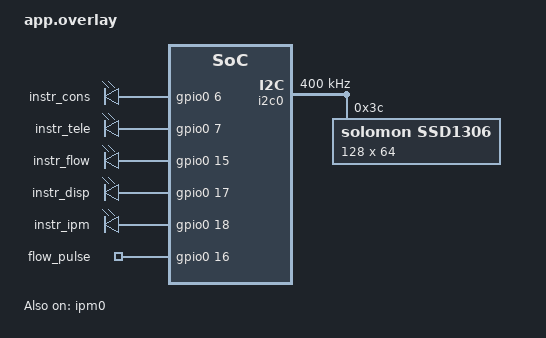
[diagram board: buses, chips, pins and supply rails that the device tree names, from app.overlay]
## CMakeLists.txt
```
cmake_minimum_required(VERSION 3.20.0)
find_package(Zephyr REQUIRED HINTS $ENV{ZEPHYR_BASE})
project(app_procpu)
target_sources(app PRIVATE src/main.c)
target_include_directories(app PRIVATE ../common)
```

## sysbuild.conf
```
# ESP simple boot: no MCUboot, so the pinned west.yml needs no extra module.
SB_CONFIG_BOOTLOADER_NONE=y
```

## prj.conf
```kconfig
CONFIG_GPIO=y
CONFIG_IPM=y
CONFIG_SERIAL=y
CONFIG_CONSOLE=y
CONFIG_UART_CONSOLE=y
CONFIG_THREAD_NAME=y
CONFIG_THREAD_ANALYZER=y
CONFIG_THREAD_ANALYZER_USE_PRINTK=y
```

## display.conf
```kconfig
# Opt-in HMI: west build ... -- -DEXTRA_CONF_FILE=display.conf
# The ESP32-S3 SSD1306 HMI on the PROCPU image.
CONFIG_I2C=y
CONFIG_DISPLAY=y
CONFIG_CHARACTER_FRAMEBUFFER=y
CONFIG_HEAP_MEM_POOL_SIZE=2048
```

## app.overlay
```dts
/*
 * PROCPU's pins: everything except the hard path's (GPIO4, 5, 21), which belong to
 * the APPCPU image. instr_ipm (GPIO18) rises when PROCPU learns of an e-stop.
 */

#include <zephyr/dt-bindings/gpio/gpio.h>
#include <zephyr/dt-bindings/i2c/i2c.h>

/ {
	instr {
		compatible = "gpio-leds";
		instr_cons: instr_cons { gpios = <&gpio0 6 GPIO_ACTIVE_HIGH>; };
		instr_tele: instr_tele { gpios = <&gpio0 7 GPIO_ACTIVE_HIGH>; };
		instr_flow: instr_flow { gpios = <&gpio0 15 GPIO_ACTIVE_HIGH>; };
		instr_disp: instr_disp { gpios = <&gpio0 17 GPIO_ACTIVE_HIGH>; };
		instr_ipm: instr_ipm { gpios = <&gpio0 18 GPIO_ACTIVE_HIGH>; };
	};

	keys {
		compatible = "gpio-keys";
		flow_pulse: flow_pulse {
			gpios = <&gpio0 16 (GPIO_ACTIVE_HIGH | GPIO_PULL_DOWN)>;
		};
	};
};

&ipm0 {
	status = "okay";
};

/* Optional SSD1306 (build with -DEXTRA_CONF_FILE=display.conf), SDA GPIO1 / SCL GPIO2. */
&i2c0 {
	status = "okay";
	clock-frequency = <I2C_BITRATE_FAST>;

	ssd1306: ssd1306@3c {
		compatible = "solomon,ssd1306";
		reg = <0x3c>;
		width = <128>;
		height = <64>;
		segment-offset = <0>;
		page-offset = <0>;
		display-offset = <0>;
		multiplex-ratio = <63>;
		prechargep = <0x22>;
		segment-remap;
		com-invdir;
	};
};
```

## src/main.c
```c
/*
 * SoilSense Control, PROCPU image (week 8 on): everything around the hard path.
 * The console, telemetry, the flow batch and the display run here; sampling,
 * control and the e-stop run alone on APPCPU (../app_appcpu) and report over IPM.
 *
 * `load on` starts a thread that streams a 64 KB table out of flash through the
 * cache the two cores share: the synthetic load of the week-8 tail table.
 */

#include <zephyr/kernel.h>
#include <zephyr/device.h>
#include <zephyr/drivers/gpio.h>
#include <zephyr/drivers/ipm.h>
#include <zephyr/drivers/uart.h>
#include <zephyr/sys/atomic.h>
#include <zephyr/sys/util.h>
#include <zephyr/sys/printk.h>
#ifdef CONFIG_THREAD_ANALYZER
#include <zephyr/debug/thread_analyzer.h>
#endif
#ifdef CONFIG_CHARACTER_FRAMEBUFFER
#include <zephyr/drivers/display.h>
#include <zephyr/display/cfb.h>
#endif
#include <stdio.h>
#include <stdlib.h>
#include <string.h>

#include "node_ipm.h"

#define TELEMETRY_MS 1000
#define FLOW_BATCH   100   /* pulses accumulated before the batch math runs */
#define CALIB_ROUNDS 1000
#define DISPLAY_MS   500

#define INSTR(node) GPIO_DT_SPEC_GET_OR(DT_NODELABEL(node), gpios, {0})
static const struct gpio_dt_spec instr_cons = INSTR(instr_cons);
static const struct gpio_dt_spec instr_tele = INSTR(instr_tele);
static const struct gpio_dt_spec instr_flow = INSTR(instr_flow);
static const struct gpio_dt_spec instr_disp = INSTR(instr_disp);
static const struct gpio_dt_spec instr_ipm = INSTR(instr_ipm);
static const struct gpio_dt_spec flow_pulse =
	GPIO_DT_SPEC_GET_OR(DT_NODELABEL(flow_pulse), gpios, {0});

static const struct device *const ipm = DEVICE_DT_GET(DT_NODELABEL(ipm0));
static const struct device *const console_uart = DEVICE_DT_GET(DT_CHOSEN(zephyr_console));
#ifdef CONFIG_CHARACTER_FRAMEBUFFER
static const struct device *const disp = DEVICE_DT_GET_ANY(solomon_ssd1306);
#endif

static inline void instr_set(const struct gpio_dt_spec *p, int v)
{
	if (p->port) {
		gpio_pin_set_dt(p, v);
	}
}

/* ---- The hard path's state, as APPCPU last reported it -------------------- */

static struct node_status node;
static struct k_spinlock node_lock;
static uint32_t status_msgs;

/* Runs in interrupt context: copy the slot before APPCPU can overwrite it. */
static void ipm_rx(const struct device *dev, void *user_data, uint32_t id,
		   volatile void *data)
{
	if (id != MSG_STATUS) {
		return;
	}

	struct node_status s;

	memcpy(&s, (const void *)data, sizeof(s));
	if (s.estop && !node.estop) {
		instr_set(&instr_ipm, 1); /* the e-stop has crossed the cores */
	} else if (!s.estop) {
		instr_set(&instr_ipm, 0);
	}

	K_SPINLOCK(&node_lock) {
		node = s;
		status_msgs++;
	}
}

static struct node_status node_get(void)
{
	struct node_status s;

	K_SPINLOCK(&node_lock) {
		s = node;
	}
	return s;
}

static void node_send(enum node_msg id, int32_t value)
{
	(void)ipm_send(ipm, 1, id, &value, sizeof(value));
}

/* ---- Flow: counted in the ISR, each full batch deferred to flow_wq --------- */

static atomic_t flow_pulses;
static struct gpio_callback flow_cb;
static struct k_work_q flow_wq;
static struct k_work flow_work;
static float flow_lpm;        /* float on purpose: no FPU */
static uint32_t flow_batches;

static void flow_isr(const struct device *dev, struct gpio_callback *cb, uint32_t pins)
{
	if (atomic_inc(&flow_pulses) + 1 >= FLOW_BATCH) {
		k_work_submit_to_queue(&flow_wq, &flow_work);
	}
}

static void flow_work_fn(struct k_work *work)
{
	if (atomic_get(&flow_pulses) < FLOW_BATCH) {
		return;
	}
	instr_set(&instr_flow, 1);

	float pulses = (float)atomic_clear(&flow_pulses);
	float lpm = pulses / 5880.0f * 60.0f; /* YF-S401: 5880 pulses/L */

	for (int i = 0; i < 50; i++) {
		flow_lpm = flow_lpm * 0.9f + lpm * 0.1f;
	}
	flow_batches++;

	instr_set(&instr_flow, 0);
}

/* ---- Synthetic load: one read per cache line of a table that lives in flash - */

static const uint8_t load_table[64 * 1024] = { 1 };
static atomic_t load_on;

static void load_thread(void *p1, void *p2, void *p3)
{
	volatile uint32_t sum = 0;

	while (1) {
		if (!atomic_get(&load_on)) {
			k_msleep(100);
			continue;
		}
		for (size_t i = 0; i < sizeof(load_table); i += 32) {
			sum += load_table[i];
		}
	}
}

/* ---- Telemetry, display, console ------------------------------------------ */

static void task_telemetry(void)
{
	struct node_status s = node_get();

	instr_set(&instr_tele, 1);
	printk("t=%u p_mv=%d sp_mv=%d duty=%d flow_x100=%d estop=%d backlog=%u\n",
	       (unsigned int)k_uptime_get(), s.pressure_mv, s.setpoint_mv, s.duty_pct,
	       (int)(flow_lpm * 100.0f), s.estop, s.backlog_peak);
	instr_set(&instr_tele, 0);
}

#ifdef CONFIG_CHARACTER_FRAMEBUFFER
static void task_display(void)
{
	static bool ready;
	char line[24];
	struct node_status s = node_get();

	if (disp == NULL) {
		return;
	}
	if (!ready) {
		if (!device_is_ready(disp) || cfb_framebuffer_init(disp) != 0) {
			return;
		}
		display_blanking_off(disp);
		ready = true;
	}

	instr_set(&instr_disp, 1);
	cfb_framebuffer_clear(disp, false);
	snprintf(line, sizeof(line), "P %4d>%4dmV", s.pressure_mv, s.setpoint_mv);
	cfb_print(disp, line, 0, 0);
	snprintf(line, sizeof(line), "duty %3d%% %s", s.duty_pct, s.estop ? "ESTOP" : "");
	cfb_print(disp, line, 0, 16);
	snprintf(line, sizeof(line), "flow %d.%02d L/m", (int)flow_lpm,
		 (int)(flow_lpm * 100.0f) % 100);
	cfb_print(disp, line, 0, 32);
	cfb_framebuffer_finalize(disp);
	instr_set(&instr_disp, 0);
}
#else
static void task_display(void)
{
}
#endif

static void cmd_calib(void)
{
	printk("calibrating zero-flow offset (%d rounds)...\n", CALIB_ROUNDS);
	for (int i = 0; i < CALIB_ROUNDS; i++) {
		k_usleep(400); /* sensor settling time between reads */
	}
	printk("calibration done\n");
}

static void console_handle(char *line)
{
	if (strcmp(line, "help") == 0) {
		printk("commands: help status set <mv> clear calib load on|off threads\n");
	} else if (strcmp(line, "status") == 0) {
		struct node_status s = node_get();

		printk("p=%d mV sp=%d mV duty=%d%% flow_x100=%d estop=%d batches=%u "
		       "backlog_peak=%u lat_peak_us=%u ipm_msgs=%u load=%s\n",
		       s.pressure_mv, s.setpoint_mv, s.duty_pct, (int)(flow_lpm * 100.0f),
		       s.estop, flow_batches, s.backlog_peak, s.lat_peak_us, status_msgs,
		       atomic_get(&load_on) ? "on" : "off");
	} else if (strncmp(line, "set ", 4) == 0) {
		int32_t mv = CLAMP(atoi(line + 4), 0, 3300);

		node_send(MSG_SETPOINT, mv);
		printk("setpoint = %d mV\n", mv);
	} else if (strcmp(line, "clear") == 0) {
		node_send(MSG_CLEAR, 0);
		printk("e-stop cleared\n");
	} else if (strcmp(line, "calib") == 0) {
		cmd_calib();
	} else if (strcmp(line, "load on") == 0 || strcmp(line, "load off") == 0) {
		atomic_set(&load_on, line[6] == 'n');
		printk("load %s\n", atomic_get(&load_on) ? "on" : "off");
#ifdef CONFIG_THREAD_ANALYZER
	} else if (strcmp(line, "threads") == 0) {
		thread_analyzer_print(0);
#endif
	} else if (line[0] != '\0') {
		printk("? (try: help)\n");
	}
}

static void task_console(void)
{
	static char buf[32];
	static size_t len;
	unsigned char c;

	while (uart_poll_in(console_uart, &c) == 0) {
		instr_set(&instr_cons, 1);
		if (c == '\r' || c == '\n') {
			buf[len] = '\0';
			printk("\n");
			console_handle(buf);
			len = 0;
		} else if (len < sizeof(buf) - 1) {
			buf[len++] = c;
			printk("%c", c);
		}
		instr_set(&instr_cons, 0);
	}
}

/* ---- Threads: the week-4 priorities, minus the two that moved to APPCPU ----- */

#define FLOW_WQ_PRIO   5
#define DISPLAY_PRIO   7
#define TELEMETRY_PRIO 8
#define CONSOLE_PRIO   9
#define LOAD_PRIO      10

static void display_thread(void *p1, void *p2, void *p3)
{
	while (1) {
		task_display();
		k_msleep(DISPLAY_MS);
	}
}
K_THREAD_DEFINE(display_tid, 2048, display_thread, NULL, NULL, NULL, DISPLAY_PRIO, 0, 0);

static void telemetry_thread(void *p1, void *p2, void *p3)
{
	int64_t next_ms = k_uptime_get();

	while (1) {
		task_telemetry();
		next_ms += TELEMETRY_MS;
		k_sleep(K_TIMEOUT_ABS_MS(next_ms));
	}
}
K_THREAD_DEFINE(telemetry_tid, 2048, telemetry_thread, NULL, NULL, NULL, TELEMETRY_PRIO, 0, 0);

static void console_thread(void *p1, void *p2, void *p3)
{
	while (1) {
		task_console();
		k_msleep(5);
	}
}
K_THREAD_DEFINE(console_tid, 2048, console_thread, NULL, NULL, NULL, CONSOLE_PRIO, 0, 0);

K_THREAD_DEFINE(load_tid, 1024, load_thread, NULL, NULL, NULL, LOAD_PRIO, 0, 0);

K_THREAD_STACK_DEFINE(flow_wq_stack, 1024);

int main(void)
{
	const struct k_work_queue_config flow_wq_cfg = { .name = "flow_wq" };
	const struct gpio_dt_spec *outs[] = { &instr_cons, &instr_tele, &instr_flow,
					      &instr_disp, &instr_ipm };

	k_work_queue_start(&flow_wq, flow_wq_stack, K_THREAD_STACK_SIZEOF(flow_wq_stack),
			   FLOW_WQ_PRIO, &flow_wq_cfg);
	k_work_init(&flow_work, flow_work_fn);

	for (size_t i = 0; i < ARRAY_SIZE(outs); i++) {
		if (outs[i]->port) {
			gpio_pin_configure_dt(outs[i], GPIO_OUTPUT_INACTIVE);
		}
	}
	if (flow_pulse.port) {
		gpio_pin_configure_dt(&flow_pulse, GPIO_INPUT);
		gpio_pin_interrupt_configure_dt(&flow_pulse, GPIO_INT_EDGE_TO_ACTIVE);
		gpio_init_callback(&flow_cb, flow_isr, BIT(flow_pulse.pin));
		gpio_add_callback(flow_pulse.port, &flow_cb);
	}

	ipm_register_callback(ipm, ipm_rx, NULL);
	printk("SoilSense Control — AMP node, PROCPU (%s)\n", CONFIG_BOARD);
	printk("type 'help'\n");
	return 0;
}
```
